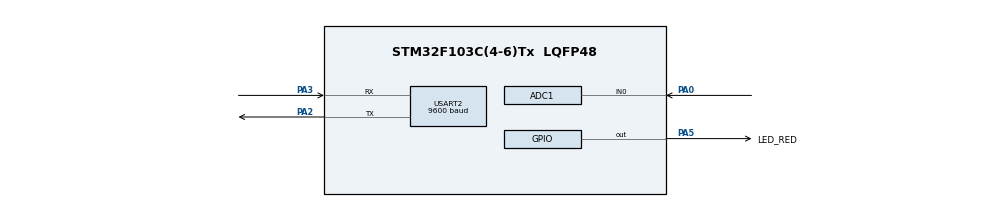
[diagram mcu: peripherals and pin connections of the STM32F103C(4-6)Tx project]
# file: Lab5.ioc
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ADC1.Channel-1\#ChannelRegularConversion=ADC_CHANNEL_0
ADC1.ContinuousConvMode=ENABLE
ADC1.NbrOfConversionFlag=1
ADC1.Rank-1\#ChannelRegularConversion=1
ADC1.SamplingTime-1\#ChannelRegularConversion=ADC_SAMPLETIME_1CYCLE_5
ADC1.master=1
Mcu.Family=STM32F1
Mcu.Name=STM32F103C(4-6)Tx
Mcu.Package=LQFP48
NVIC.ADC1_2_IRQn=true\:0\:0\:false\:false\:true\:true\:true
NVIC.PriorityGroup=NVIC_PRIORITYGROUP_4
NVIC.TIM2_IRQn=true\:0\:0\:false\:false\:true\:true\:true
NVIC.USART2_IRQn=true\:0\:0\:false\:false\:true\:true\:true
PA0-WKUP.Signal=ADCx_IN0
PA2.Mode=Asynchronous
PA2.Signal=USART2_TX
PA3.Mode=Asynchronous
PA3.Signal=USART2_RX
PA5.GPIO_Label=LED_RED
PA5.Signal=GPIO_Output
PA6.Signal=S_TIM3_CH1
ProjectManager.HeapSize=0x200
ProjectManager.StackSize=0x400
ProjectManager.TargetToolchain=STM32CubeIDE
RCC.APB1Freq_Value=8000000
RCC.APB2Freq_Value=8000000
SH.ADCx_IN0.0=ADC1_IN0,IN0
SH.S_TIM3_CH1.0=TIM3_CH1
TIM2.Prescaler=7999
USART2.BaudRate=9600
USART2.VirtualMode=VM_ASYNC
VP_SYS_VS_ND.Mode=No_Debug
VP_TIM2_VS_ClockSourceINT.Mode=Internal
board=custom

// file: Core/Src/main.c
/* USER CODE BEGIN Header */
/**
  ******************************************************************************
  * @file           : main.c
  * @brief          : Main program body
  ******************************************************************************
  * @attention
  *
  * <h2><center>&copy; Copyright (c) 2023 STMicroelectronics.
  * All rights reserved.</center></h2>
  *
  * This software component is licensed by ST under BSD 3-Clause license,
  * the "License"; You may not use this file except in compliance with the
  * License. You may obtain a copy of the License at:
  *                        opensource.org/licenses/BSD-3-Clause
  *
  ******************************************************************************
  */
/* USER CODE END Header */
#include "main.h"
#include "command_parser_fsm.h"
#include "scheduler.h"

ADC_HandleTypeDef hadc1;

TIM_HandleTypeDef htim2;

UART_HandleTypeDef huart2;

void SystemClock_Config(void);
static void MX_GPIO_Init(void);
static void MX_ADC1_Init(void);
static void MX_USART2_UART_Init(void);
static void MX_TIM2_Init(void);

/* USER CODE BEGIN 0 */
void HAL_UART_RxCpltCallback ( UART_HandleTypeDef *huart) {
	if(huart->Instance == USART2) {
		HAL_UART_Transmit(&huart2, &temp, 1, 50);
		buffer[index_buffer++] = temp;
		if(index_buffer == MAX_BUFFER_SIZE)
			index_buffer = 0;
		buffer_flag = 1;
		HAL_UART_Receive_IT(&huart2, &temp, 1);
	}
}

void toggleLed() {
	HAL_GPIO_TogglePin(LED_RED_GPIO_Port, LED_RED_Pin);
}

void command_parser() {
	if (buffer_flag == 1) {
		command_parser_fsm();
		buffer_flag = 0;
	}
}
/* USER CODE END 0 */

int main(void)
{

  /* MCU Configuration--------------------------------------------------------*/

  /* Reset of all peripherals, Initializes the Flash interface and the Systick. */
  HAL_Init();

  /* Configure the system clock */
  SystemClock_Config();

  /* Initialize all configured peripherals */
  MX_GPIO_Init();
  MX_ADC1_Init();
  MX_USART2_UART_Init();
  MX_TIM2_Init();
  /* USER CODE BEGIN 2 */
  HAL_TIM_Base_Start_IT(&htim2);
  HAL_UART_Receive_IT(&huart2, &temp, 1);
  SCH_Add_Task(toggleLed, 0, 100);
  SCH_Add_Task(command_parser, 100, 1);
  SCH_Add_Task(uart_communication_fsm, 200, 1);
  /* USER CODE END 2 */

  /* Infinite loop */
  while (1)
  {
	  SCH_Dispatch_Tasks();
  }
}

void SystemClock_Config(void)
{
  RCC_OscInitTypeDef RCC_OscInitStruct = {0};
  RCC_ClkInitTypeDef RCC_ClkInitStruct = {0};
  RCC_PeriphCLKInitTypeDef PeriphClkInit = {0};

  /** Initializes the RCC Oscillators according to the specified parameters
  * in the RCC_OscInitTypeDef structure.
  */
  RCC_OscInitStruct.OscillatorType = RCC_OSCILLATORTYPE_HSI;
  RCC_OscInitStruct.HSIState = RCC_HSI_ON;
  RCC_OscInitStruct.HSICalibrationValue = RCC_HSICALIBRATION_DEFAULT;
  RCC_OscInitStruct.PLL.PLLState = RCC_PLL_NONE;
  if (HAL_RCC_OscConfig(&RCC_OscInitStruct) != HAL_OK)
  {
    Error_Handler();
  }
  /** Initializes the CPU, AHB and APB buses clocks
  */
  RCC_ClkInitStruct.ClockType = RCC_CLOCKTYPE_HCLK|RCC_CLOCKTYPE_SYSCLK
                              |RCC_CLOCKTYPE_PCLK1|RCC_CLOCKTYPE_PCLK2;
  RCC_ClkInitStruct.SYSCLKSource = RCC_SYSCLKSOURCE_HSI;
  RCC_ClkInitStruct.AHBCLKDivider = RCC_SYSCLK_DIV1;
  RCC_ClkInitStruct.APB1CLKDivider = RCC_HCLK_DIV1;
  RCC_ClkInitStruct.APB2CLKDivider = RCC_HCLK_DIV1;

  if (HAL_RCC_ClockConfig(&RCC_ClkInitStruct, FLASH_LATENCY_0) != HAL_OK)
  {
    Error_Handler();
  }
  PeriphClkInit.PeriphClockSelection = RCC_PERIPHCLK_ADC;
  PeriphClkInit.AdcClockSelection = RCC_ADCPCLK2_DIV2;
  if (HAL_RCCEx_PeriphCLKConfig(&PeriphClkInit) != HAL_OK)
  {
    Error_Handler();
  }
}

static void MX_ADC1_Init(void)
{

  ADC_ChannelConfTypeDef sConfig = {0};

  /** Common config
  */
  hadc1.Instance = ADC1;
  hadc1.Init.ScanConvMode = ADC_SCAN_DISABLE;
  hadc1.Init.ContinuousConvMode = ENABLE;
  hadc1.Init.DiscontinuousConvMode = DISABLE;
  hadc1.Init.ExternalTrigConv = ADC_SOFTWARE_START;
  hadc1.Init.DataAlign = ADC_DATAALIGN_RIGHT;
  hadc1.Init.NbrOfConversion = 1;
  if (HAL_ADC_Init(&hadc1) != HAL_OK)
  {
    Error_Handler();
  }
  /** Configure Regular Channel
  */
  sConfig.Channel = ADC_CHANNEL_0;
  sConfig.Rank = ADC_REGULAR_RANK_1;
  sConfig.SamplingTime = ADC_SAMPLETIME_1CYCLE_5;
  if (HAL_ADC_ConfigChannel(&hadc1, &sConfig) != HAL_OK)
  {
    Error_Handler();
  }

}

static void MX_TIM2_Init(void)
{

  TIM_ClockConfigTypeDef sClockSourceConfig = {0};
  TIM_MasterConfigTypeDef sMasterConfig = {0};

  htim2.Instance = TIM2;
  htim2.Init.Prescaler = 7999;
  htim2.Init.CounterMode = TIM_COUNTERMODE_UP;
  htim2.Init.Period = 9;
  htim2.Init.ClockDivision = TIM_CLOCKDIVISION_DIV1;
  htim2.Init.AutoReloadPreload = TIM_AUTORELOAD_PRELOAD_DISABLE;
  if (HAL_TIM_Base_Init(&htim2) != HAL_OK)
  {
    Error_Handler();
  }
  sClockSourceConfig.ClockSource = TIM_CLOCKSOURCE_INTERNAL;
  if (HAL_TIM_ConfigClockSource(&htim2, &sClockSourceConfig) != HAL_OK)
  {
    Error_Handler();
  }
  sMasterConfig.MasterOutputTrigger = TIM_TRGO_RESET;
  sMasterConfig.MasterSlaveMode = TIM_MASTERSLAVEMODE_DISABLE;
  if (HAL_TIMEx_MasterConfigSynchronization(&htim2, &sMasterConfig) != HAL_OK)
  {
    Error_Handler();
  }

}

static void MX_USART2_UART_Init(void)
{

  huart2.Instance = USART2;
  huart2.Init.BaudRate = 9600;
  huart2.Init.WordLength = UART_WORDLENGTH_8B;
  huart2.Init.StopBits = UART_STOPBITS_1;
  huart2.Init.Parity = UART_PARITY_NONE;
  huart2.Init.Mode = UART_MODE_TX_RX;
  huart2.Init.HwFlowCtl = UART_HWCONTROL_NONE;
  huart2.Init.OverSampling = UART_OVERSAMPLING_16;
  if (HAL_UART_Init(&huart2) != HAL_OK)
  {
    Error_Handler();
  }

}

static void MX_GPIO_Init(void)
{
  GPIO_InitTypeDef GPIO_InitStruct = {0};

  /* GPIO Ports Clock Enable */
  __HAL_RCC_GPIOA_CLK_ENABLE();

  /*Configure GPIO pin Output Level */
  HAL_GPIO_WritePin(LED_RED_GPIO_Port, LED_RED_Pin, GPIO_PIN_RESET);

  /*Configure GPIO pin : LED_RED_Pin */
  GPIO_InitStruct.Pin = LED_RED_Pin;
  GPIO_InitStruct.Mode = GPIO_MODE_OUTPUT_PP;
  GPIO_InitStruct.Pull = GPIO_NOPULL;
  GPIO_InitStruct.Speed = GPIO_SPEED_FREQ_LOW;
  HAL_GPIO_Init(LED_RED_GPIO_Port, &GPIO_InitStruct);

  /*Configure GPIO pin : PA6 */
  GPIO_InitStruct.Pin = GPIO_PIN_6;
  GPIO_InitStruct.Mode = GPIO_MODE_AF_PP;
  GPIO_InitStruct.Speed = GPIO_SPEED_FREQ_LOW;
  HAL_GPIO_Init(GPIOA, &GPIO_InitStruct);

}

/* USER CODE BEGIN 4 */
void HAL_TIM_PeriodElapsedCallback(TIM_HandleTypeDef *htim) {
	SCH_Update();
	timerRun(0);
}
/* USER CODE END 4 */

void Error_Handler(void)
{
  __disable_irq();
  while (1)
  {
  }
}

/************************ (C) COPYRIGHT STMicroelectronics *****END OF FILE****/
